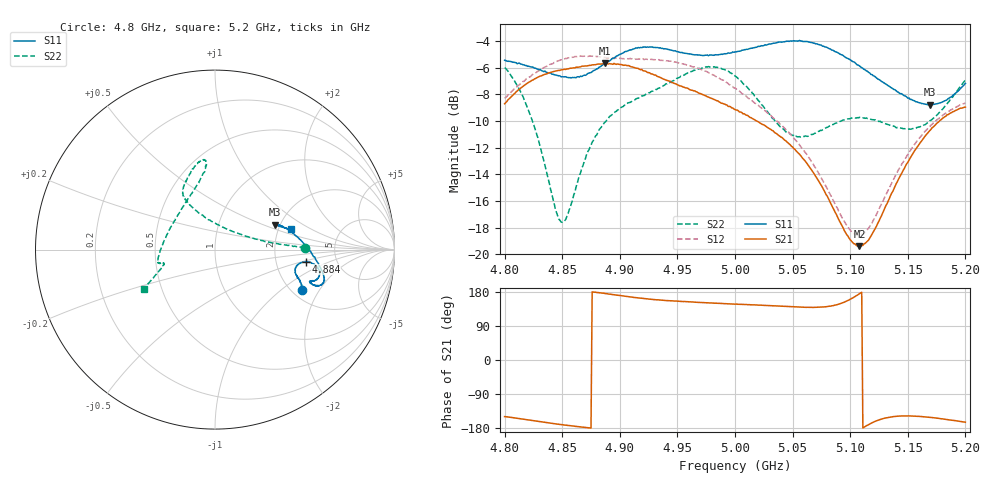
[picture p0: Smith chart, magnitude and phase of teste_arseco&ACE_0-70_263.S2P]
! Network Analyzer HP8722D
! Hewlett-Packard
! Data name: Linha & Wilkinson
! Saver's name: Rodrigo Anjos
! Comments: Teste da utilização de aquisição
! continua pelo VNA HP8722D
! Time and date: 8/5/2025 14:57
!  Frequency  S11  S21  S12  S22
# HZ  S  MA R 50
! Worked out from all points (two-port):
!   401 points, 4.8 GHz to 5.2 GHz, reference 50 ohm
!   highest |S21| = -5.67 dB at 4.887 GHz (marker M1); lowest = -19.4 dB at 5.108 GHz (marker M2)
!   |S21| within 3 dB of the highest: 4.8 GHz to 4.989 GHz (188.1 MHz wide, 3.84 % of centre)
!   lowest |S11| = -8.8 dB at 5.169 GHz (marker M3), VSWR 2.15, Z = 94.3 + j30.4 ohm
!   |S11| at or under -10 dB: nowhere
!   |S22| runs from -17.6 to -5.9 dB; largest |S21 - S12| = 1.1
!   S11 on the Smith chart (normalised r, x): 4.8 GHz: 2.25, -1.43; 4.884 GHz: 2.97, -0.53; 5.2 GHz: 2.34, +0.65
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4.8e9  0.5343 -25.1  0.3669 -149.3  0.3849 9.7  0.5014 1.3
4.812e9  0.5213 -22.1  0.4137 -154.2  0.4301 8.5  0.4217 2.7
4.823e9  0.504 -20.5  0.4474 -159.2  0.4663 6.8  0.3266 6.4
4.848e9  0.467 -16.2  0.4896 -170.1  0.5347 3.0  0.134 55.9
4.854e9  0.4612 -14.6  0.4957 -172.4  0.5423 1.9  0.1384 81.1
4.867e9  0.4644 -10.9  0.5079 -176.9  0.5535 -0.2  0.2105 111.7
4.884e9  0.5094 -7.5  0.5174 176.7  0.5481 -1.3  0.3 120.2
4.887e9  0.5187 -7.6  0.5207 175.5  0.5484 -1.2  0.3129 120.5
4.914e9  0.5947 -11.4  0.4994 164.6  0.5391 -0.7  0.3828 117.7
4.934e9  0.5941 -15.7  0.4631 158.5  0.5373 -1.6  0.4201 111.8
4.975e9  0.5584 -18.7  0.3924 150.9  0.4859 -5.5  0.5051 98.8
5e9  0.574 -19.5  0.349 147.4  0.4204 -5.3  0.467 96.6
5.018e9  0.5977 -19.6  0.3174 145.3  0.3673 -3.0  0.3885 103.3
5.045e9  0.63 -17.4  0.2642 141.2  0.291 2.9  0.2864 132.9
5.067e9  0.6226 -13.4  0.2056 138.9  0.2209 9.3  0.2814 164.6
5.097e9  0.5445 -3.2  0.1183 155.6  0.1282 36.2  0.3211 -171.3
5.108e9  0.5092 2.1  0.1071 174.9  0.1175 57.8  0.3264 -167.8
5.118e9  0.473 7.0  0.1168 -167.1  0.1294 76.9  0.3206 -166.3
5.134e9  0.4266 14.9  0.1619 -151.0  0.1776 94.7  0.3056 -165.8
5.154e9  0.3787 21.3  0.2367 -148.0  0.252 101.2  0.2959 -164.2
5.169e9  0.3641 22.6  0.2908 -151.3  0.3013 102.1  0.3167 -160.9
5.2e9  0.4373 14.9  0.3563 -164.1  0.3698 102.5  0.4514 -150.7
